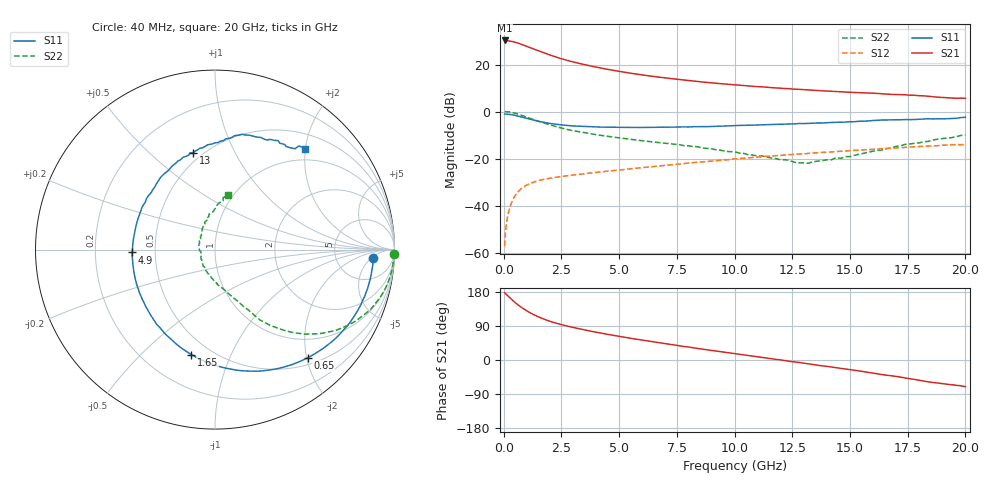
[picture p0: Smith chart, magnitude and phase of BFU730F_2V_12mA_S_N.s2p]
! Filename:  P:\Prog\Test\Noise\ATS_data\Testdata_Net\BFU730\BFU730_2W_B1_2V12mA_D.s2p
! Date/Time: Fri 29/Apr/2011 14:14:14
! BFU730_2W_B1_2V12mA
! bias mode 1: Vout= 2.0002 V, Iout=12.0450 mA, Vin= 0.8060 V, Iin= 0.0388 mA
! Date/time Thu Mar 17 10:05:47 2011
! Device data file deembeded for feedlines and parallel
! Original file: \BFU730\BFU730_2W_B1_2V12mA_R.s2p
! Feed-files: PR003V01_101208_Feed1.s2p, PR003V01_101208_Feed2.s2p
! Parallel-file: PR003V01_101208_Par.s2p
# MHz S MA R 50
!  Freq-MHz  S11-mag  S11-arg  S21-mag  S21-arg  S12-mag  S12-arg  S22-mag  S22-arg
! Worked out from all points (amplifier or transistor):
!   167 points, 40 MHz to 20 GHz, reference 50 ohm
!   highest |S21| = 30.2 dB at 50 MHz (marker M1)
!   |S21| within 3 dB of that: start of sweep to 1.132 GHz
!   unconditionally stable (mu >= 1): 5.343 GHz to 15.85 GHz
!   at 550 MHz: K = 0.14, MSG = 32.2 dB, |S12| = -35.1 dB
!   at 4.2 GHz: K = 0.89, MSG = 22.1 dB, |S12| = -25.7 dB
!   at 20 GHz: K = 0.86, MSG = 9.8 dB, |S12| = -14.0 dB
!   lowest NFmin = 0.62 dB at 400 MHz
!   S11 on the Smith chart (normalised r, x): 40 MHz: 14, -6; 650 MHz: 0.62, -2.02; 1.65 GHz: 0.39, -0.72; 4.9 GHz: 0.37, -0.01; 13 GHz: 0.45, +0.70; 20 GHz: 0.76, +1.99
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40  0.8837 -3.1  32.45 177.6  0.001365 85.2  0.9949 -1.3
50  0.8796 -4.5  32.52 176.5  0.001704 100.1  0.9944 -1.9
60  0.8812 -4.5  32.17 176.1  0.002184 89.7  0.9962 -2.3
240  0.87 -19.1  31.84 165.7  0.008225 80.9  0.9809 -10.8
420  0.8421 -33.0  30.53 155.7  0.01399 73.8  0.9431 -18.6
550  0.816 -42.5  29.25 148.9  0.01766 68.9  0.904 -23.8
650  0.7935 -49.5  28.18 144.2  0.02024 65.5  0.8739 -27.5
800  0.7591 -59.5  26.61 137.5  0.02364 60.9  0.8255 -32.2
1050  0.7032 -74.2  23.86 127.8  0.02813 54.7  0.7443 -39.0
1350  0.6458 -89.7  20.94 118.2  0.03216 49.5  0.6589 -45.1
1650  0.5995 -102.8  18.41 110.2  0.03524 45.6  0.5881 -49.7
2000  0.5579 -115.7  15.98 102.2  0.03801 42.6  0.5213 -54.0
2350  0.5301 -126.7  14 95.8  0.0404 40.5  0.466 -57.4
2800  0.5026 -138.7  12.08 88.9  0.04333 38.7  0.4099 -59.8
3400  0.4816 -152.0  10.22 80.8  0.04687 37.4  0.3619 -62.9
4900  0.4612 -178.1  7.302 63.4  0.05655 35.1  0.2795 -70.1
6800  0.4623 158.0  5.335 45.0  0.07001 31.5  0.2163 -79.7
10200  0.5062 125.7  3.64 15.1  0.09988 21.2  0.1309 -110.9
13000  0.5538 102.5  2.92 -8.4  0.1264 8.5  0.081 -164.0
13400  0.5634 100.1  2.837 -11.9  0.1312 6.3  0.08579 -175.9
16800  0.6655 73.4  2.316 -41.7  0.1654 -12.1  0.1682 105.8
20000  0.7546 48.3  1.914 -70.3  0.1991 -33.0  0.313 76.5
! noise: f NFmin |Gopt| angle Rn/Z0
400  0.6216  0.2793  3.1  0.1142
850  0.6381  0.2522  13.33  0.1159
1450  0.6611  0.2261  27.48  0.1162
2100  0.6874  0.2075  42.75  0.1146
2900  0.7217  0.1926  60.72  0.1103
4100  0.7772  0.176  86.4  0.1007
5800  0.864  0.16  125.4  0.0852
8200  1.003  0.1965  183.9  0.0725
1.14e+04  1.218  0.3448  231.1  0.1048
1.8e+04  1.77  0.6616  306.8  0.5464
